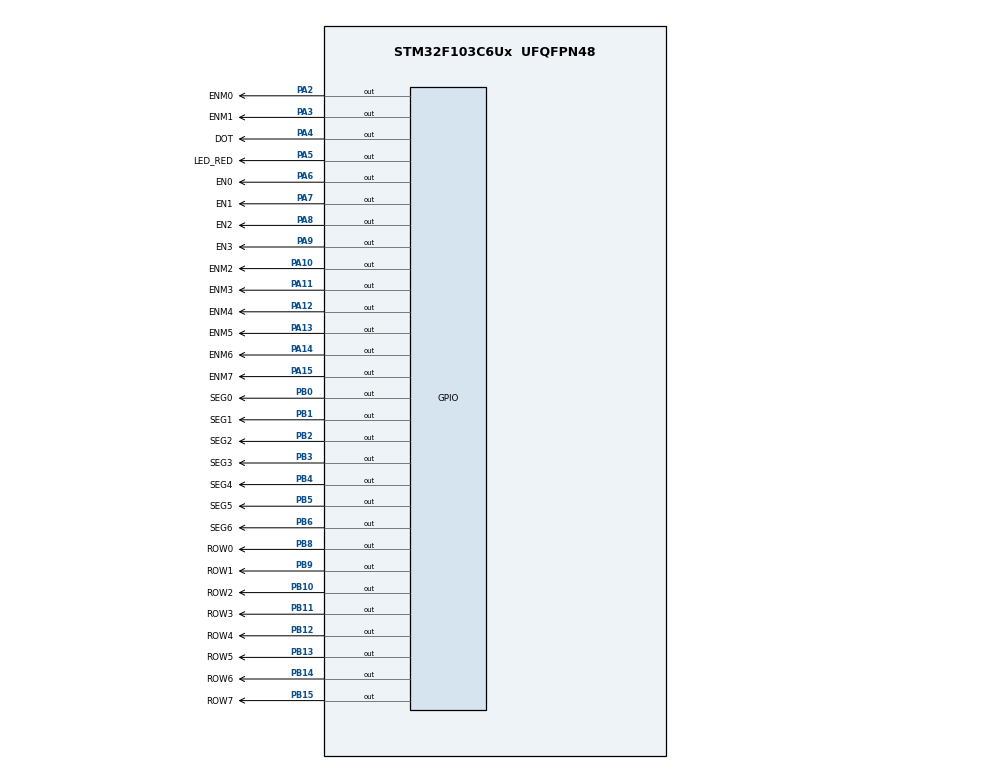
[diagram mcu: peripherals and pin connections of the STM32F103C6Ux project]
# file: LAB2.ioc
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Mcu.Family=STM32F1
Mcu.Name=STM32F103C6Ux
Mcu.Package=UFQFPN48
NVIC.PriorityGroup=NVIC_PRIORITYGROUP_4
NVIC.TIM2_IRQn=true\:0\:0\:false\:false\:true\:true\:true
PA10.GPIO_Label=ENM2
PA10.Signal=GPIO_Output
PA11.GPIO_Label=ENM3
PA11.Signal=GPIO_Output
PA12.GPIO_Label=ENM4
PA12.Signal=GPIO_Output
PA13.GPIO_Label=ENM5
PA13.Signal=GPIO_Output
PA14.GPIO_Label=ENM6
PA14.Signal=GPIO_Output
PA15.GPIO_Label=ENM7
PA15.Signal=GPIO_Output
PA2.GPIO_Label=ENM0
PA2.Signal=GPIO_Output
PA3.GPIO_Label=ENM1
PA3.Signal=GPIO_Output
PA4.GPIO_Label=DOT
PA4.Signal=GPIO_Output
PA5.GPIO_Label=LED_RED
PA5.PinState=GPIO_PIN_RESET
PA5.Signal=GPIO_Output
PA6.GPIO_Label=EN0
PA6.PinState=GPIO_PIN_SET
PA6.Signal=GPIO_Output
PA7.GPIO_Label=EN1
PA7.PinState=GPIO_PIN_SET
PA7.Signal=GPIO_Output
PA8.GPIO_Label=EN2
PA8.PinState=GPIO_PIN_SET
PA8.Signal=GPIO_Output
PA9.GPIO_Label=EN3
PA9.PinState=GPIO_PIN_SET
PA9.Signal=GPIO_Output
PB0.GPIO_Label=SEG0
PB0.Signal=GPIO_Output
PB1.GPIO_Label=SEG1
PB1.Signal=GPIO_Output
PB10.GPIO_Label=ROW2
PB10.Signal=GPIO_Output
PB11.GPIO_Label=ROW3
PB11.Signal=GPIO_Output
PB12.GPIO_Label=ROW4
PB12.Signal=GPIO_Output
PB13.GPIO_Label=ROW5
PB13.Signal=GPIO_Output
PB14.GPIO_Label=ROW6
PB14.Signal=GPIO_Output
PB15.GPIO_Label=ROW7
PB15.Signal=GPIO_Output
PB2.GPIO_Label=SEG2
PB2.Signal=GPIO_Output
PB3.GPIO_Label=SEG3
PB3.Signal=GPIO_Output
PB4.GPIO_Label=SEG4
PB4.Signal=GPIO_Output
PB5.GPIO_Label=SEG5
PB5.Signal=GPIO_Output
PB6.GPIO_Label=SEG6
PB6.Signal=GPIO_Output
PB8.GPIO_Label=ROW0
PB8.Signal=GPIO_Output
PB9.GPIO_Label=ROW1
PB9.Signal=GPIO_Output
ProjectManager.HeapSize=0x200
ProjectManager.StackSize=0x400
ProjectManager.TargetToolchain=STM32CubeIDE
RCC.APB1Freq_Value=8000000
RCC.APB2Freq_Value=8000000
TIM2.Period=9
TIM2.Prescaler=7999
VP_SYS_VS_ND.Mode=No_Debug
VP_TIM2_VS_ClockSourceINT.Mode=Internal
board=custom

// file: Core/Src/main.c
/* USER CODE BEGIN Header */
/**
  ******************************************************************************
  * @file           : main.c
  * @brief          : Main program body
  ******************************************************************************
  * @attention
  *
  * <h2><center>&copy; Copyright (c) 2026 STMicroelectronics.
  * All rights reserved.</center></h2>
  *
  * This software component is licensed by ST under BSD 3-Clause license,
  * the "License"; You may not use this file except in compliance with the
  * License. You may obtain a copy of the License at:
  *                        opensource.org/licenses/BSD-3-Clause
  *
  ******************************************************************************
  */
/* USER CODE END Header */
#include "main.h"

TIM_HandleTypeDef htim2;

/* USER CODE BEGIN PV */
const int MAX_LED_MATRIX = 8;

int index_led_matrix = 0;

/* Bitmap for character A */
uint8_t matrix_buffer[8] =
{
    0x00,
    0x7E,
    0x11,
    0x11,
    0x11,
    0x7E,
    0x00,
    0x00
};
const int MAX_LED = 4;

int index_led = 0;
int led_buffer[4] = {0, 0, 0, 0};

int counter_7seg = 0;

/* Clock */
int hour = 15;
int minute = 8;
int second = 50;

int timer0_counter = 0;
int timer0_flag = 0;

int timer1_counter = 0;
int timer1_flag = 0;

int timer2_counter = 0;
int timer2_flag = 0;

int timer3_counter = 0;
int timer3_flag = 0;

int TIMER_CYCLE = 10;
/* USER CODE END PV */

void SystemClock_Config(void);
static void MX_GPIO_Init(void);
static void MX_TIM2_Init(void);
/* USER CODE BEGIN PFP */
/* USER CODE BEGIN PFP */

void display7SEG(int num);
void update7SEG(int index);
void updateClockBuffer(void);

void setTimer0(int duration);
void setTimer1(int duration);
void timer_run(void);
void updateLEDMatrix(int index);
void setTimer2(int duration);
void setTimer3(int duration);
void shiftMatrixLeft(void);
/* USER CODE END PFP */

int main(void)
{

  /* MCU Configuration--------------------------------------------------------*/

  /* Reset of all peripherals, Initializes the Flash interface and the Systick. */
  HAL_Init();

  /* Configure the system clock */
  SystemClock_Config();

  /* Initialize all configured peripherals */
  MX_GPIO_Init();
  MX_TIM2_Init();
  // Turn OFF all 7-segment displays
    HAL_GPIO_WritePin(EN0_GPIO_Port, EN0_Pin, GPIO_PIN_SET);
    HAL_GPIO_WritePin(EN1_GPIO_Port, EN1_Pin, GPIO_PIN_SET);
    HAL_GPIO_WritePin(EN2_GPIO_Port, EN2_Pin, GPIO_PIN_SET);
    HAL_GPIO_WritePin(EN3_GPIO_Port, EN3_Pin, GPIO_PIN_SET);

    // Initial DOT state
    HAL_GPIO_WritePin(DOT_GPIO_Port, DOT_Pin, GPIO_PIN_RESET);

    // Display first digit immediately
    display7SEG(1);
    HAL_GPIO_WritePin(EN0_GPIO_Port, EN0_Pin, GPIO_PIN_RESET);
    updateClockBuffer();
    // Start Timer 2 interrupt
    HAL_TIM_Base_Start_IT(&htim2);
    setTimer0(1000);
    setTimer1(250);
    setTimer2(10);
    setTimer3(500);
  /* USER CODE END 2 */

  /* Infinite loop */
  /* USER CODE BEGIN WHILE */
  while (1)
  {
	  if(timer0_flag == 1)
	      {
	          second++;

	          if(second >= 60)
	          {
	              second = 0;
	              minute++;
	          }

	          if(minute >= 60)
	          {
	              minute = 0;
	              hour++;
	          }

	          if(hour >= 24)
	          {
	              hour = 0;
	          }

	          updateClockBuffer();

	          /* DOT is handled in main */
	          HAL_GPIO_TogglePin(
	              DOT_GPIO_Port,
	              DOT_Pin
	          );

	          setTimer0(1000);
	      }

	      /*
	       * TIMER 1
	       * Scan one 7-segment every 250 ms
	       */
	      if(timer1_flag == 1)
	      {
	          update7SEG(index_led);

	          index_led++;

	          if(index_led >= MAX_LED)
	          {
	              index_led = 0;
	          }

	          setTimer1(250);
	      }
	      if(timer2_flag == 1)
	      {
	          updateLEDMatrix(index_led_matrix);

	          index_led_matrix++;

	          if(index_led_matrix >= MAX_LED_MATRIX)
	          {
	              index_led_matrix = 0;
	          }

	          setTimer2(10);
	      }

	      if(timer3_flag == 1)
	      {
	          shiftMatrixLeft();

	          setTimer3(500);
	      }
    /* USER CODE END WHILE */

  }
}

void SystemClock_Config(void)
{
  RCC_OscInitTypeDef RCC_OscInitStruct = {0};
  RCC_ClkInitTypeDef RCC_ClkInitStruct = {0};

  /** Initializes the RCC Oscillators according to the specified parameters
  * in the RCC_OscInitTypeDef structure.
  */
  RCC_OscInitStruct.OscillatorType = RCC_OSCILLATORTYPE_HSI;
  RCC_OscInitStruct.HSIState = RCC_HSI_ON;
  RCC_OscInitStruct.HSICalibrationValue = RCC_HSICALIBRATION_DEFAULT;
  RCC_OscInitStruct.PLL.PLLState = RCC_PLL_NONE;
  if (HAL_RCC_OscConfig(&RCC_OscInitStruct) != HAL_OK)
  {
    Error_Handler();
  }
  /** Initializes the CPU, AHB and APB buses clocks
  */
  RCC_ClkInitStruct.ClockType = RCC_CLOCKTYPE_HCLK|RCC_CLOCKTYPE_SYSCLK
                              |RCC_CLOCKTYPE_PCLK1|RCC_CLOCKTYPE_PCLK2;
  RCC_ClkInitStruct.SYSCLKSource = RCC_SYSCLKSOURCE_HSI;
  RCC_ClkInitStruct.AHBCLKDivider = RCC_SYSCLK_DIV1;
  RCC_ClkInitStruct.APB1CLKDivider = RCC_HCLK_DIV1;
  RCC_ClkInitStruct.APB2CLKDivider = RCC_HCLK_DIV1;

  if (HAL_RCC_ClockConfig(&RCC_ClkInitStruct, FLASH_LATENCY_0) != HAL_OK)
  {
    Error_Handler();
  }
}

static void MX_TIM2_Init(void)
{

  TIM_ClockConfigTypeDef sClockSourceConfig = {0};
  TIM_MasterConfigTypeDef sMasterConfig = {0};

  htim2.Instance = TIM2;
  htim2.Init.Prescaler = 7999;
  htim2.Init.CounterMode = TIM_COUNTERMODE_UP;
  htim2.Init.Period = 9;
  htim2.Init.ClockDivision = TIM_CLOCKDIVISION_DIV1;
  htim2.Init.AutoReloadPreload = TIM_AUTORELOAD_PRELOAD_DISABLE;
  if (HAL_TIM_Base_Init(&htim2) != HAL_OK)
  {
    Error_Handler();
  }
  sClockSourceConfig.ClockSource = TIM_CLOCKSOURCE_INTERNAL;
  if (HAL_TIM_ConfigClockSource(&htim2, &sClockSourceConfig) != HAL_OK)
  {
    Error_Handler();
  }
  sMasterConfig.MasterOutputTrigger = TIM_TRGO_RESET;
  sMasterConfig.MasterSlaveMode = TIM_MASTERSLAVEMODE_DISABLE;
  if (HAL_TIMEx_MasterConfigSynchronization(&htim2, &sMasterConfig) != HAL_OK)
  {
    Error_Handler();
  }

}

static void MX_GPIO_Init(void)
{
  GPIO_InitTypeDef GPIO_InitStruct = {0};

  /* GPIO Ports Clock Enable */
  __HAL_RCC_GPIOA_CLK_ENABLE();
  __HAL_RCC_GPIOB_CLK_ENABLE();

  /*Configure GPIO pin Output Level */
  HAL_GPIO_WritePin(GPIOA, ENM0_Pin|ENM1_Pin|DOT_Pin|LED_RED_Pin
                          |ENM2_Pin|ENM3_Pin|ENM4_Pin|ENM5_Pin
                          |ENM6_Pin|ENM7_Pin, GPIO_PIN_RESET);

  /*Configure GPIO pin Output Level */
  HAL_GPIO_WritePin(GPIOA, EN0_Pin|EN1_Pin|EN2_Pin|EN3_Pin, GPIO_PIN_SET);

  /*Configure GPIO pin Output Level */
  HAL_GPIO_WritePin(GPIOB, SEG0_Pin|SEG1_Pin|SEG2_Pin|ROW2_Pin
                          |ROW3_Pin|ROW4_Pin|ROW5_Pin|ROW6_Pin
                          |ROW7_Pin|SEG3_Pin|SEG4_Pin|SEG5_Pin
                          |SEG6_Pin|ROW0_Pin|ROW1_Pin, GPIO_PIN_RESET);

  /*Configure GPIO pins : ENM0_Pin ENM1_Pin DOT_Pin LED_RED_Pin
                           EN0_Pin EN1_Pin EN2_Pin EN3_Pin
                           ENM2_Pin ENM3_Pin ENM4_Pin ENM5_Pin
                           ENM6_Pin ENM7_Pin */
  GPIO_InitStruct.Pin = ENM0_Pin|ENM1_Pin|DOT_Pin|LED_RED_Pin
                          |EN0_Pin|EN1_Pin|EN2_Pin|EN3_Pin
                          |ENM2_Pin|ENM3_Pin|ENM4_Pin|ENM5_Pin
                          |ENM6_Pin|ENM7_Pin;
  GPIO_InitStruct.Mode = GPIO_MODE_OUTPUT_PP;
  GPIO_InitStruct.Pull = GPIO_NOPULL;
  GPIO_InitStruct.Speed = GPIO_SPEED_FREQ_LOW;
  HAL_GPIO_Init(GPIOA, &GPIO_InitStruct);

  /*Configure GPIO pins : SEG0_Pin SEG1_Pin SEG2_Pin ROW2_Pin
                           ROW3_Pin ROW4_Pin ROW5_Pin ROW6_Pin
                           ROW7_Pin SEG3_Pin SEG4_Pin SEG5_Pin
                           SEG6_Pin ROW0_Pin ROW1_Pin */
  GPIO_InitStruct.Pin = SEG0_Pin|SEG1_Pin|SEG2_Pin|ROW2_Pin
                          |ROW3_Pin|ROW4_Pin|ROW5_Pin|ROW6_Pin
                          |ROW7_Pin|SEG3_Pin|SEG4_Pin|SEG5_Pin
                          |SEG6_Pin|ROW0_Pin|ROW1_Pin;
  GPIO_InitStruct.Mode = GPIO_MODE_OUTPUT_PP;
  GPIO_InitStruct.Pull = GPIO_NOPULL;
  GPIO_InitStruct.Speed = GPIO_SPEED_FREQ_LOW;
  HAL_GPIO_Init(GPIOB, &GPIO_InitStruct);

}

/* USER CODE BEGIN 4 */
/* USER CODE BEGIN 4 */

void display7SEG(int num)
{
    // Common Anode:
    // SET   = OFF
    // RESET = ON

    HAL_GPIO_WritePin(SEG0_GPIO_Port, SEG0_Pin, GPIO_PIN_SET);
    HAL_GPIO_WritePin(SEG1_GPIO_Port, SEG1_Pin, GPIO_PIN_SET);
    HAL_GPIO_WritePin(SEG2_GPIO_Port, SEG2_Pin, GPIO_PIN_SET);
    HAL_GPIO_WritePin(SEG3_GPIO_Port, SEG3_Pin, GPIO_PIN_SET);
    HAL_GPIO_WritePin(SEG4_GPIO_Port, SEG4_Pin, GPIO_PIN_SET);
    HAL_GPIO_WritePin(SEG5_GPIO_Port, SEG5_Pin, GPIO_PIN_SET);
    HAL_GPIO_WritePin(SEG6_GPIO_Port, SEG6_Pin, GPIO_PIN_SET);

    switch(num)
    {
        case 0:
            // a b c d e f
            HAL_GPIO_WritePin(SEG0_GPIO_Port, SEG0_Pin, GPIO_PIN_RESET);
            HAL_GPIO_WritePin(SEG1_GPIO_Port, SEG1_Pin, GPIO_PIN_RESET);
            HAL_GPIO_WritePin(SEG2_GPIO_Port, SEG2_Pin, GPIO_PIN_RESET);
            HAL_GPIO_WritePin(SEG3_GPIO_Port, SEG3_Pin, GPIO_PIN_RESET);
            HAL_GPIO_WritePin(SEG4_GPIO_Port, SEG4_Pin, GPIO_PIN_RESET);
            HAL_GPIO_WritePin(SEG5_GPIO_Port, SEG5_Pin, GPIO_PIN_RESET);
            break;

        case 1:
            // b c
            HAL_GPIO_WritePin(SEG1_GPIO_Port, SEG1_Pin, GPIO_PIN_RESET);
            HAL_GPIO_WritePin(SEG2_GPIO_Port, SEG2_Pin, GPIO_PIN_RESET);
            break;

        case 2:
            // a b d e g
            HAL_GPIO_WritePin(SEG0_GPIO_Port, SEG0_Pin, GPIO_PIN_RESET);
            HAL_GPIO_WritePin(SEG1_GPIO_Port, SEG1_Pin, GPIO_PIN_RESET);
            HAL_GPIO_WritePin(SEG3_GPIO_Port, SEG3_Pin, GPIO_PIN_RESET);
            HAL_GPIO_WritePin(SEG4_GPIO_Port, SEG4_Pin, GPIO_PIN_RESET);
            HAL_GPIO_WritePin(SEG6_GPIO_Port, SEG6_Pin, GPIO_PIN_RESET);
            break;

        case 3:
            // a b c d g
            HAL_GPIO_WritePin(SEG0_GPIO_Port, SEG0_Pin, GPIO_PIN_RESET);
            HAL_GPIO_WritePin(SEG1_GPIO_Port, SEG1_Pin, GPIO_PIN_RESET);
            HAL_GPIO_WritePin(SEG2_GPIO_Port, SEG2_Pin, GPIO_PIN_RESET);
            HAL_GPIO_WritePin(SEG3_GPIO_Port, SEG3_Pin, GPIO_PIN_RESET);
            HAL_GPIO_WritePin(SEG6_GPIO_Port, SEG6_Pin, GPIO_PIN_RESET);
            break;

        case 4:
            // b c f g
            HAL_GPIO_WritePin(SEG1_GPIO_Port, SEG1_Pin, GPIO_PIN_RESET);
            HAL_GPIO_WritePin(SEG2_GPIO_Port, SEG2_Pin, GPIO_PIN_RESET);
            HAL_GPIO_WritePin(SEG5_GPIO_Port, SEG5_Pin, GPIO_PIN_RESET);
            HAL_GPIO_WritePin(SEG6_GPIO_Port, SEG6_Pin, GPIO_PIN_RESET);
            break;

        case 5:
            // a c d f g
            HAL_GPIO_WritePin(SEG0_GPIO_Port, SEG0_Pin, GPIO_PIN_RESET);
            HAL_GPIO_WritePin(SEG2_GPIO_Port, SEG2_Pin, GPIO_PIN_RESET);
            HAL_GPIO_WritePin(SEG3_GPIO_Port, SEG3_Pin, GPIO_PIN_RESET);
            HAL_GPIO_WritePin(SEG5_GPIO_Port, SEG5_Pin, GPIO_PIN_RESET);
            HAL_GPIO_WritePin(SEG6_GPIO_Port, SEG6_Pin, GPIO_PIN_RESET);
            break;

        case 6:
            // a c d e f g
            HAL_GPIO_WritePin(SEG0_GPIO_Port, SEG0_Pin, GPIO_PIN_RESET);
            HAL_GPIO_WritePin(SEG2_GPIO_Port, SEG2_Pin, GPIO_PIN_RESET);
            HAL_GPIO_WritePin(SEG3_GPIO_Port, SEG3_Pin, GPIO_PIN_RESET);
            HAL_GPIO_WritePin(SEG4_GPIO_Port, SEG4_Pin, GPIO_PIN_RESET);
            HAL_GPIO_WritePin(SEG5_GPIO_Port, SEG5_Pin, GPIO_PIN_RESET);
            HAL_GPIO_WritePin(SEG6_GPIO_Port, SEG6_Pin, GPIO_PIN_RESET);
            break;

        case 7:
            // a b c
            HAL_GPIO_WritePin(SEG0_GPIO_Port, SEG0_Pin, GPIO_PIN_RESET);
            HAL_GPIO_WritePin(SEG1_GPIO_Port, SEG1_Pin, GPIO_PIN_RESET);
            HAL_GPIO_WritePin(SEG2_GPIO_Port, SEG2_Pin, GPIO_PIN_RESET);
            break;

        case 8:
            // a b c d e f g
            HAL_GPIO_WritePin(SEG0_GPIO_Port, SEG0_Pin, GPIO_PIN_RESET);
            HAL_GPIO_WritePin(SEG1_GPIO_Port, SEG1_Pin, GPIO_PIN_RESET);
            HAL_GPIO_WritePin(SEG2_GPIO_Port, SEG2_Pin, GPIO_PIN_RESET);
            HAL_GPIO_WritePin(SEG3_GPIO_Port, SEG3_Pin, GPIO_PIN_RESET);
            HAL_GPIO_WritePin(SEG4_GPIO_Port, SEG4_Pin, GPIO_PIN_RESET);
            HAL_GPIO_WritePin(SEG5_GPIO_Port, SEG5_Pin, GPIO_PIN_RESET);
            HAL_GPIO_WritePin(SEG6_GPIO_Port, SEG6_Pin, GPIO_PIN_RESET);
            break;

        case 9:
            // a b c d f g
            HAL_GPIO_WritePin(SEG0_GPIO_Port, SEG0_Pin, GPIO_PIN_RESET);
            HAL_GPIO_WritePin(SEG1_GPIO_Port, SEG1_Pin, GPIO_PIN_RESET);
            HAL_GPIO_WritePin(SEG2_GPIO_Port, SEG2_Pin, GPIO_PIN_RESET);
            HAL_GPIO_WritePin(SEG3_GPIO_Port, SEG3_Pin, GPIO_PIN_RESET);
            HAL_GPIO_WritePin(SEG5_GPIO_Port, SEG5_Pin, GPIO_PIN_RESET);
            HAL_GPIO_WritePin(SEG6_GPIO_Port, SEG6_Pin, GPIO_PIN_RESET);
            break;

        default:
            break;
    }
}

void update7SEG(int index)
{
    // Turn OFF all 7-segment displays first
    HAL_GPIO_WritePin(EN0_GPIO_Port, EN0_Pin, GPIO_PIN_SET);
    HAL_GPIO_WritePin(EN1_GPIO_Port, EN1_Pin, GPIO_PIN_SET);
    HAL_GPIO_WritePin(EN2_GPIO_Port, EN2_Pin, GPIO_PIN_SET);
    HAL_GPIO_WritePin(EN3_GPIO_Port, EN3_Pin, GPIO_PIN_SET);

    switch(index)
    {
        case 0:
            display7SEG(led_buffer[0]);
            HAL_GPIO_WritePin(EN0_GPIO_Port, EN0_Pin, GPIO_PIN_RESET);
            break;

        case 1:
            display7SEG(led_buffer[1]);
            HAL_GPIO_WritePin(EN1_GPIO_Port, EN1_Pin, GPIO_PIN_RESET);
            break;

        case 2:
            display7SEG(led_buffer[2]);
            HAL_GPIO_WritePin(EN2_GPIO_Port, EN2_Pin, GPIO_PIN_RESET);
            break;

        case 3:
            display7SEG(led_buffer[3]);
            HAL_GPIO_WritePin(EN3_GPIO_Port, EN3_Pin, GPIO_PIN_RESET);
            break;

        default:
            break;
    }
}

void updateClockBuffer(void)
{
    led_buffer[0] = hour / 10;
    led_buffer[1] = hour % 10;

    led_buffer[2] = minute / 10;
    led_buffer[3] = minute % 10;
}

void updateLEDMatrix(int index)
{
    uint8_t data = matrix_buffer[index];

    /*
     * Disable all columns first
     *
     * Assumption:
     * ENMx = HIGH -> ULN2803 enables selected column
     */
    HAL_GPIO_WritePin(ENM0_GPIO_Port, ENM0_Pin, GPIO_PIN_RESET);
    HAL_GPIO_WritePin(ENM1_GPIO_Port, ENM1_Pin, GPIO_PIN_RESET);
    HAL_GPIO_WritePin(ENM2_GPIO_Port, ENM2_Pin, GPIO_PIN_RESET);
    HAL_GPIO_WritePin(ENM3_GPIO_Port, ENM3_Pin, GPIO_PIN_RESET);
    HAL_GPIO_WritePin(ENM4_GPIO_Port, ENM4_Pin, GPIO_PIN_RESET);
    HAL_GPIO_WritePin(ENM5_GPIO_Port, ENM5_Pin, GPIO_PIN_RESET);
    HAL_GPIO_WritePin(ENM6_GPIO_Port, ENM6_Pin, GPIO_PIN_RESET);
    HAL_GPIO_WritePin(ENM7_GPIO_Port, ENM7_Pin, GPIO_PIN_RESET);

    /*
     * Output 8-bit row data
     */
    HAL_GPIO_WritePin(
        ROW0_GPIO_Port,
        ROW0_Pin,
        (data & 0x01) ? GPIO_PIN_SET : GPIO_PIN_RESET
    );

    HAL_GPIO_WritePin(
        ROW1_GPIO_Port,
        ROW1_Pin,
        (data & 0x02) ? GPIO_PIN_SET : GPIO_PIN_RESET
    );

    HAL_GPIO_WritePin(
        ROW2_GPIO_Port,
        ROW2_Pin,
        (data & 0x04) ? GPIO_PIN_SET : GPIO_PIN_RESET
    );

    HAL_GPIO_WritePin(
        ROW3_GPIO_Port,
        ROW3_Pin,
        (data & 0x08) ? GPIO_PIN_SET : GPIO_PIN_RESET
    );

    HAL_GPIO_WritePin(
        ROW4_GPIO_Port,
        ROW4_Pin,
        (data & 0x10) ? GPIO_PIN_SET : GPIO_PIN_RESET
    );

    HAL_GPIO_WritePin(
        ROW5_GPIO_Port,
        ROW5_Pin,
        (data & 0x20) ? GPIO_PIN_SET : GPIO_PIN_RESET
    );

    HAL_GPIO_WritePin(
        ROW6_GPIO_Port,
        ROW6_Pin,
        (data & 0x40) ? GPIO_PIN_SET : GPIO_PIN_RESET
    );

    HAL_GPIO_WritePin(
        ROW7_GPIO_Port,
        ROW7_Pin,
        (data & 0x80) ? GPIO_PIN_SET : GPIO_PIN_RESET
    );

    /*
     * Enable selected column
     */
    switch(index)
    {
        case 0:
            HAL_GPIO_WritePin(
                ENM0_GPIO_Port,
                ENM0_Pin,
                GPIO_PIN_SET
            );
            break;

        case 1:
            HAL_GPIO_WritePin(
                ENM1_GPIO_Port,
                ENM1_Pin,
                GPIO_PIN_SET
            );
            break;

        case 2:
            HAL_GPIO_WritePin(
                ENM2_GPIO_Port,
                ENM2_Pin,
                GPIO_PIN_SET
            );
            break;

        case 3:
            HAL_GPIO_WritePin(
                ENM3_GPIO_Port,
                ENM3_Pin,
                GPIO_PIN_SET
            );
            break;

        case 4:
            HAL_GPIO_WritePin(
                ENM4_GPIO_Port,
                ENM4_Pin,
                GPIO_PIN_SET
            );
            break;

        case 5:
            HAL_GPIO_WritePin(
                ENM5_GPIO_Port,
                ENM5_Pin,
                GPIO_PIN_SET
            );
            break;

        case 6:
            HAL_GPIO_WritePin(
                ENM6_GPIO_Port,
                ENM6_Pin,
                GPIO_PIN_SET
            );
            break;

        case 7:
            HAL_GPIO_WritePin(
                ENM7_GPIO_Port,
                ENM7_Pin,
                GPIO_PIN_SET
            );
            break;

        default:
            break;
    }
}

void shiftMatrixLeft(void)
{
    uint8_t temp = matrix_buffer[0];

    for(int i = 0; i < 7; i++)
    {
        matrix_buffer[i] = matrix_buffer[i + 1];
    }

    matrix_buffer[7] = temp;
}

void setTimer0(int duration)
{
    timer0_counter = duration / TIMER_CYCLE;
    timer0_flag = 0;
}
void setTimer1(int duration)
{
    timer1_counter = duration / TIMER_CYCLE;
    timer1_flag = 0;
}

void setTimer2(int duration)
{
    timer2_counter = duration / TIMER_CYCLE;
    timer2_flag = 0;
}

void setTimer3(int duration)
{
    timer3_counter = duration / TIMER_CYCLE;
    timer3_flag = 0;
}

void timer_run(void)
{
    /* Software timer 0 */
    if(timer0_counter > 0)
    {
        timer0_counter--;

        if(timer0_counter == 0)
        {
            timer0_flag = 1;
        }
    }

    /* Software timer 1 */
    if(timer1_counter > 0)
    {
        timer1_counter--;

        if(timer1_counter == 0)
        {
            timer1_flag = 1;
        }
    }

    /* Software timer 2 - LED Matrix */
    if(timer2_counter > 0)
    {
        timer2_counter--;

        if(timer2_counter == 0)
        {
            timer2_flag = 1;
        }
    }

    if(timer3_counter > 0)
    {
        timer3_counter--;

        if(timer3_counter == 0)
        {
            timer3_flag = 1;
        }
    }
}

void HAL_TIM_PeriodElapsedCallback(TIM_HandleTypeDef *htim)
{
    if(htim->Instance == TIM2)
    {
        timer_run();
    }
}
/* USER CODE END 4 */

void Error_Handler(void)
{
  __disable_irq();
  while (1)
  {
  }
}

/************************ (C) COPYRIGHT STMicroelectronics *****END OF FILE****/
